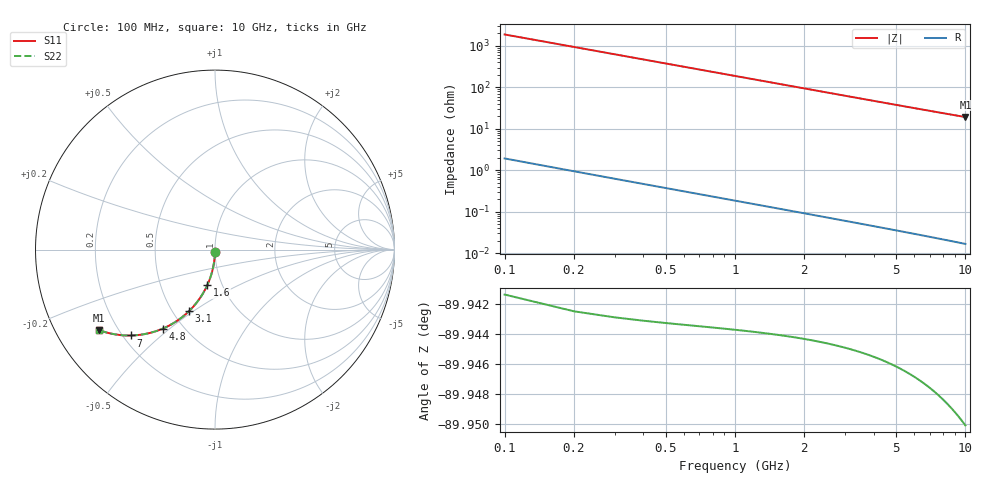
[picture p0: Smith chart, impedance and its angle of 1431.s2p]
# Hz S RI R 50.00
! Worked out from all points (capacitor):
!   100 points, 100 MHz to 10 GHz, reference 50 ohm
!   read as one part in shunt: C = 846 fF near 100 MHz
!   lowest |Z| = 19.2 ohm at 10 GHz (marker M1)
!   S11 on the Smith chart (normalised r, x): 100 MHz: 1.00, -0.03; 1.6 GHz: 0.85, -0.35; 3.1 GHz: 0.60, -0.48; 4.8 GHz: 0.39, -0.47; 7 GHz: 0.23, -0.40; 10 GHz: 0.13, -0.31
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1e8  -0.000103 -0.013  0.9997 -0.0136  0.9997 -0.0136  -0.000103 -0.013
2e8  -0.000645 -0.026  0.9992 -0.0271  0.9992 -0.0271  -0.000645 -0.026
3e8  -0.00154 -0.039  0.9983 -0.0407  0.9983 -0.0407  -0.00154 -0.039
4e8  -0.00278 -0.0519  0.997 -0.0542  0.997 -0.0542  -0.00278 -0.0519
5e8  -0.00437 -0.0648  0.9954 -0.0676  0.9954 -0.0676  -0.00437 -0.0648
6e8  -0.00631 -0.0776  0.9935 -0.0809  0.9935 -0.0809  -0.00631 -0.0776
7e8  -0.00859 -0.0903  0.9912 -0.0942  0.9912 -0.0942  -0.00859 -0.0903
9e8  -0.0141 -0.1154  0.9857 -0.1205  0.9857 -0.1205  -0.0141 -0.1154
1.2e9  -0.0249 -0.1522  0.9749 -0.159  0.9749 -0.159  -0.0249 -0.1522
1.6e9  -0.0434 -0.1991  0.9563 -0.2081  0.9563 -0.2081  -0.0434 -0.1991
1.8e9  -0.0544 -0.2214  0.9454 -0.2315  0.9454 -0.2315  -0.0544 -0.2214
2.4e9  -0.0928 -0.2831  0.9069 -0.2966  0.9069 -0.2966  -0.0928 -0.2831
3.1e9  -0.1459 -0.344  0.8537 -0.3615  0.8537 -0.3615  -0.1459 -0.344
3.4e9  -0.1706 -0.3662  0.829 -0.3854  0.829 -0.3854  -0.1706 -0.3662
4.1e9  -0.2306 -0.4092  0.769 -0.4325  0.769 -0.4325  -0.2306 -0.4092
4.8e9  -0.2916 -0.4405  0.7079 -0.4677  0.7079 -0.4677  -0.2916 -0.4405
5.1e9  -0.3175 -0.4506  0.6819 -0.4796  0.6819 -0.4796  -0.3175 -0.4506
5.9e9  -0.3843 -0.4692  0.6149 -0.5028  0.6149 -0.5028  -0.3843 -0.4692
6.7e9  -0.4467 -0.4775  0.5523 -0.5159  0.5523 -0.5159  -0.4467 -0.4775
7e9  -0.4688 -0.4785  0.5302 -0.5186  0.5302 -0.5186  -0.4688 -0.4785
8.4e9  -0.5611 -0.4714  0.4375 -0.5199  0.4375 -0.5199  -0.5611 -0.4714
1e10  -0.6461 -0.4483  0.352 -0.5064  0.352 -0.5064  -0.6461 -0.4483
